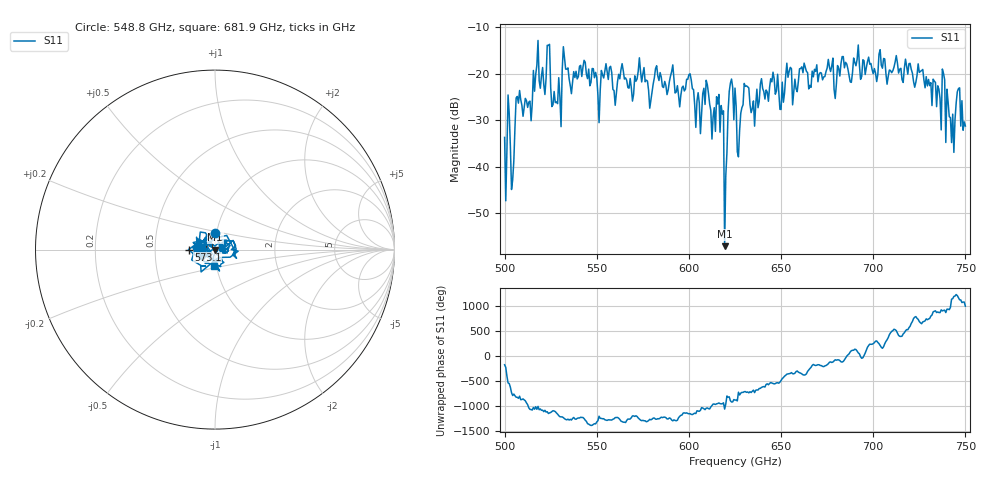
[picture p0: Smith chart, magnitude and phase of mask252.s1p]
!Created with skrf (http://scikit-rf.org).
# GHz S MA R 50.0
!freq magS11 angS11
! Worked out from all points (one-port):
!   401 points, 500 GHz to 750 GHz, reference 50 ohm
!   lowest |S11| = -57.0 dB at 619.4 GHz (marker M1), VSWR 1.00, Z = 50.1 + j0.0484 ohm
!   |S11| at or under -10 dB: start of sweep to end of sweep
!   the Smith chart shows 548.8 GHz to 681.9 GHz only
!   S11 on the Smith chart (normalised r, x): 548.8 GHz: 0.99, +0.18; 573.1 GHz: 0.74, -0.00; 681.9 GHz: 0.97, -0.18
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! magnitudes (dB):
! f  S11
! 500 GHz  -33.7
! 504.4 GHz  -42.8
! 507.5 GHz  -26.3
! 513.8 GHz  -25.9
! 516.9 GHz  -20.2
! 523.8 GHz  -14.0
! 526.9 GHz  -23.8
! 531.2 GHz  -19.2
! 548.8 GHz  -20.9
! 562.5 GHz  -21.1
! 573.1 GHz  -16.6
! 593.8 GHz  -22.6
! 616.2 GHz  -24.5
! 619.4 GHz  -57.0
! 620.6 GHz  -37.0
! 622.5 GHz  -22.1
! 625 GHz  -23.1
! 627.5 GHz  -32.2
! 631.2 GHz  -22.6
! 635 GHz  -25.9
! 656.2 GHz  -26.7
! 681.9 GHz  -20.5
! 687.5 GHz  -21.8
! 718.8 GHz  -20.1
! 738.8 GHz  -21.3
! 742.5 GHz  -34.8
! 746.9 GHz  -23.1
! 750 GHz  -31.3
